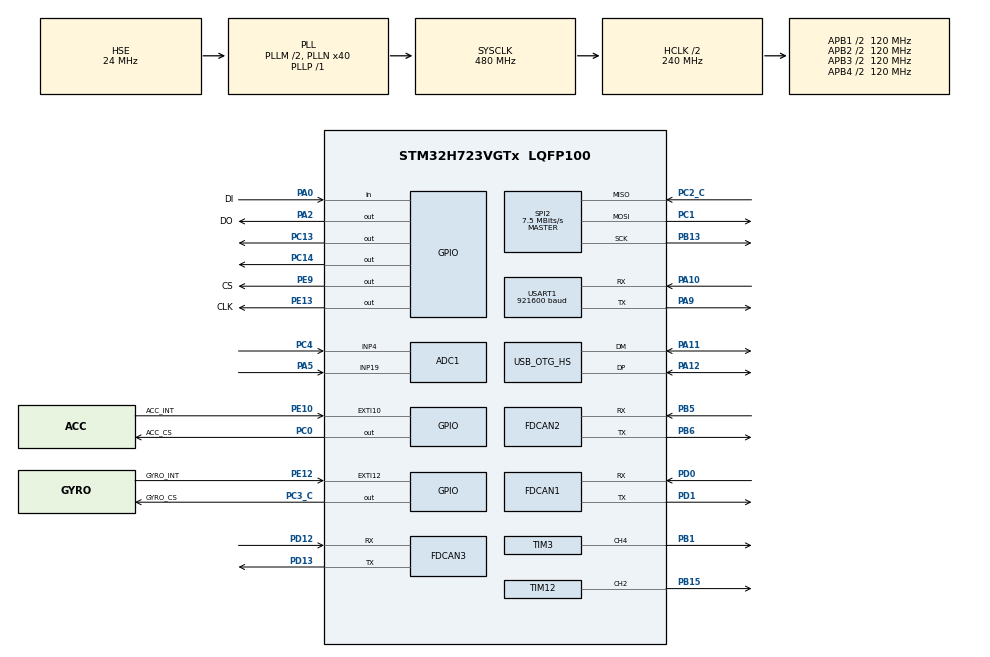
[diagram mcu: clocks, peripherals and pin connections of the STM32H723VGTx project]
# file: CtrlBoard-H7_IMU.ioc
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ADC1.Channel-0\#ChannelRegularConversion=ADC_CHANNEL_4
ADC1.Channel-1\#ChannelRegularConversion=ADC_CHANNEL_4
ADC1.ClockPrescaler=ADC_CLOCK_ASYNC_DIV64
ADC1.ContinuousConvMode=ENABLE
ADC1.ConversionDataManagement=ADC_CONVERSIONDATA_DMA_CIRCULAR
ADC1.NbrOfConversion=2
ADC1.NbrOfConversionFlag=1
ADC1.OffsetNumber-0\#ChannelRegularConversion=ADC_OFFSET_NONE
ADC1.OffsetNumber-1\#ChannelRegularConversion=ADC_OFFSET_NONE
ADC1.OffsetSignedSaturation-0\#ChannelRegularConversion=DISABLE
ADC1.OffsetSignedSaturation-1\#ChannelRegularConversion=DISABLE
ADC1.Rank-0\#ChannelRegularConversion=1
ADC1.Rank-1\#ChannelRegularConversion=2
ADC1.SamplingTime-0\#ChannelRegularConversion=ADC_SAMPLETIME_1CYCLE_5
ADC1.SamplingTime-1\#ChannelRegularConversion=ADC_SAMPLETIME_1CYCLE_5
ADC1.master=1
Dma.ADC1.4.Direction=DMA_PERIPH_TO_MEMORY
Dma.ADC1.4.EventEnable=DISABLE
Dma.ADC1.4.FIFOMode=DMA_FIFOMODE_DISABLE
Dma.ADC1.4.Instance=DMA1_Stream4
Dma.ADC1.4.MemDataAlignment=DMA_MDATAALIGN_HALFWORD
Dma.ADC1.4.MemInc=DMA_MINC_ENABLE
Dma.ADC1.4.Mode=DMA_CIRCULAR
Dma.ADC1.4.PeriphDataAlignment=DMA_PDATAALIGN_HALFWORD
Dma.ADC1.4.PeriphInc=DMA_PINC_DISABLE
Dma.ADC1.4.Polarity=HAL_DMAMUX_REQ_GEN_RISING
Dma.ADC1.4.Priority=DMA_PRIORITY_LOW
Dma.ADC1.4.RequestNumber=1
Dma.ADC1.4.SignalID=NONE
Dma.ADC1.4.SyncEnable=DISABLE
Dma.ADC1.4.SyncPolarity=HAL_DMAMUX_SYNC_NO_EVENT
Dma.ADC1.4.SyncRequestNumber=1
Dma.ADC1.4.SyncSignalID=NONE
Dma.Request0=SPI2_RX
Dma.Request1=SPI2_TX
Dma.Request2=USART1_RX
Dma.Request3=USART1_TX
Dma.Request4=ADC1
Dma.SPI2_RX.0.Direction=DMA_PERIPH_TO_MEMORY
Dma.SPI2_RX.0.EventEnable=DISABLE
Dma.SPI2_RX.0.FIFOMode=DMA_FIFOMODE_DISABLE
Dma.SPI2_RX.0.Instance=DMA1_Stream0
Dma.SPI2_RX.0.MemDataAlignment=DMA_MDATAALIGN_BYTE
Dma.SPI2_RX.0.MemInc=DMA_MINC_ENABLE
Dma.SPI2_RX.0.Mode=DMA_NORMAL
Dma.SPI2_RX.0.PeriphDataAlignment=DMA_PDATAALIGN_BYTE
Dma.SPI2_RX.0.PeriphInc=DMA_PINC_DISABLE
Dma.SPI2_RX.0.Polarity=HAL_DMAMUX_REQ_GEN_RISING
Dma.SPI2_RX.0.Priority=DMA_PRIORITY_VERY_HIGH
Dma.SPI2_RX.0.RequestNumber=1
Dma.SPI2_RX.0.SignalID=NONE
Dma.SPI2_RX.0.SyncEnable=DISABLE
Dma.SPI2_RX.0.SyncPolarity=HAL_DMAMUX_SYNC_NO_EVENT
Dma.SPI2_RX.0.SyncRequestNumber=1
Dma.SPI2_RX.0.SyncSignalID=NONE
Dma.SPI2_TX.1.Direction=DMA_MEMORY_TO_PERIPH
Dma.SPI2_TX.1.EventEnable=DISABLE
Dma.SPI2_TX.1.FIFOMode=DMA_FIFOMODE_DISABLE
Dma.SPI2_TX.1.Instance=DMA1_Stream1
Dma.SPI2_TX.1.MemDataAlignment=DMA_MDATAALIGN_BYTE
Dma.SPI2_TX.1.MemInc=DMA_MINC_ENABLE
Dma.SPI2_TX.1.Mode=DMA_NORMAL
Dma.SPI2_TX.1.PeriphDataAlignment=DMA_PDATAALIGN_BYTE
Dma.SPI2_TX.1.PeriphInc=DMA_PINC_DISABLE
Dma.SPI2_TX.1.Polarity=HAL_DMAMUX_REQ_GEN_RISING
Dma.SPI2_TX.1.Priority=DMA_PRIORITY_HIGH
Dma.SPI2_TX.1.RequestNumber=1
Dma.SPI2_TX.1.SignalID=NONE
Dma.SPI2_TX.1.SyncEnable=DISABLE
Dma.SPI2_TX.1.SyncPolarity=HAL_DMAMUX_SYNC_NO_EVENT
Dma.SPI2_TX.1.SyncRequestNumber=1
Dma.SPI2_TX.1.SyncSignalID=NONE
Dma.USART1_RX.2.Direction=DMA_PERIPH_TO_MEMORY
Dma.USART1_RX.2.EventEnable=DISABLE
Dma.USART1_RX.2.FIFOMode=DMA_FIFOMODE_DISABLE
Dma.USART1_RX.2.Instance=DMA1_Stream2
Dma.USART1_RX.2.MemDataAlignment=DMA_MDATAALIGN_BYTE
Dma.USART1_RX.2.MemInc=DMA_MINC_ENABLE
Dma.USART1_RX.2.Mode=DMA_NORMAL
Dma.USART1_RX.2.PeriphDataAlignment=DMA_PDATAALIGN_BYTE
Dma.USART1_RX.2.PeriphInc=DMA_PINC_DISABLE
Dma.USART1_RX.2.Polarity=HAL_DMAMUX_REQ_GEN_RISING
Dma.USART1_RX.2.Priority=DMA_PRIORITY_LOW
Dma.USART1_RX.2.RequestNumber=1
Dma.USART1_RX.2.SignalID=NONE
Dma.USART1_RX.2.SyncEnable=DISABLE
Dma.USART1_RX.2.SyncPolarity=HAL_DMAMUX_SYNC_NO_EVENT
Dma.USART1_RX.2.SyncRequestNumber=1
Dma.USART1_RX.2.SyncSignalID=NONE
Dma.USART1_TX.3.Direction=DMA_MEMORY_TO_PERIPH
Dma.USART1_TX.3.EventEnable=DISABLE
Dma.USART1_TX.3.FIFOMode=DMA_FIFOMODE_DISABLE
Dma.USART1_TX.3.Instance=DMA1_Stream3
Dma.USART1_TX.3.MemDataAlignment=DMA_MDATAALIGN_BYTE
Dma.USART1_TX.3.MemInc=DMA_MINC_ENABLE
Dma.USART1_TX.3.Mode=DMA_NORMAL
Dma.USART1_TX.3.PeriphDataAlignment=DMA_PDATAALIGN_BYTE
Dma.USART1_TX.3.PeriphInc=DMA_PINC_DISABLE
Dma.USART1_TX.3.Polarity=HAL_DMAMUX_REQ_GEN_RISING
Dma.USART1_TX.3.Priority=DMA_PRIORITY_LOW
Dma.USART1_TX.3.RequestNumber=1
Dma.USART1_TX.3.SignalID=NONE
Dma.USART1_TX.3.SyncEnable=DISABLE
Dma.USART1_TX.3.SyncPolarity=HAL_DMAMUX_SYNC_NO_EVENT
Dma.USART1_TX.3.SyncRequestNumber=1
Dma.USART1_TX.3.SyncSignalID=NONE
FDCAN1.AutoRetransmission=ENABLE
FDCAN1.CalculateBaudRateNominal=1000000
FDCAN1.CalculateTimeBitNominal=1000
FDCAN1.CalculateTimeQuantumNominal=12.5
FDCAN1.DataSyncJumpWidth=2
FDCAN1.DataTimeSeg1=13
FDCAN1.DataTimeSeg2=2
FDCAN1.ExtFiltersNbr=4
FDCAN1.FrameFormat=FDCAN_FRAME_FD_BRS
FDCAN1.NominalPrescaler=1
FDCAN1.NominalSyncJumpWidth=20
FDCAN1.NominalTimeSeg1=59
FDCAN1.NominalTimeSeg2=20
FDCAN1.ProtocolException=ENABLE
FDCAN1.RxFifo0ElmtsNbr=10
FDCAN1.StdFiltersNbr=4
FDCAN1.TxFifoQueueElmtsNbr=10
FDCAN2.AutoRetransmission=ENABLE
FDCAN2.CalculateBaudRateNominal=1000000
FDCAN2.CalculateTimeBitNominal=1000
FDCAN2.CalculateTimeQuantumNominal=12.5
FDCAN2.DataSyncJumpWidth=2
FDCAN2.DataTimeSeg1=13
FDCAN2.DataTimeSeg2=2
FDCAN2.ExtFiltersNbr=5
FDCAN2.FrameFormat=FDCAN_FRAME_FD_BRS
FDCAN2.MessageRAMOffset=854
FDCAN2.NominalPrescaler=1
FDCAN2.NominalSyncJumpWidth=20
FDCAN2.NominalTimeSeg1=59
FDCAN2.NominalTimeSeg2=20
FDCAN2.ProtocolException=ENABLE
FDCAN2.RxFifo1ElmtsNbr=10
FDCAN2.StdFiltersNbr=5
FDCAN2.TxFifoQueueElmtsNbr=10
FDCAN3.AutoRetransmission=ENABLE
FDCAN3.CalculateBaudRateNominal=1000000
FDCAN3.CalculateTimeBitNominal=1000
FDCAN3.CalculateTimeQuantumNominal=12.5
FDCAN3.DataPrescaler=1
FDCAN3.DataSyncJumpWidth=2
FDCAN3.DataTimeSeg1=13
FDCAN3.DataTimeSeg2=2
FDCAN3.ExtFiltersNbr=5
FDCAN3.FrameFormat=FDCAN_FRAME_FD_BRS
FDCAN3.MessageRAMOffset=1709
FDCAN3.NominalPrescaler=1
FDCAN3.NominalSyncJumpWidth=20
FDCAN3.NominalTimeSeg1=59
FDCAN3.NominalTimeSeg2=20
FDCAN3.ProtocolException=ENABLE
FDCAN3.RxFifo0ElmtsNbr=10
FDCAN3.StdFiltersNbr=5
FDCAN3.TxFifoQueueElmtsNbr=12
FREERTOS.MEMORY_ALLOCATION=0
FREERTOS.Tasks01=defaultTask,0,128,StartDefaultTask,Default,NULL,Dynamic,NULL,NULL;CHASSISR_TASK,2,512,ChassisR_Task,Default,NULL,Dynamic,NULL,NULL;CHASSISL_TASK,2,512,ChassisL_Task,Default,NULL,Dynamic,NULL,NULL;CONNECT_TASK,2,512,CONNECT_Task,Default,NULL,Dynamic,NULL,NULL;BODY_TASK,1,512,Body_Task,Default,NULL,Dynamic,NULL,NULL;VBUS_CHECK_TASK,0,128,VBUS_CheckTask,Default,NULL,Dynamic,NULL,NULL
FREERTOS.configENABLE_FPU=1
FREERTOS.configTOTAL_HEAP_SIZE=30720
Mcu.Family=STM32H7
Mcu.Name=STM32H723VGTx
Mcu.Package=LQFP100
NVIC.DMA1_Stream0_IRQn=true\:6\:0\:true\:false\:true\:true\:false\:true\:true
NVIC.DMA1_Stream1_IRQn=true\:6\:0\:true\:false\:true\:true\:false\:true\:true
NVIC.DMA1_Stream2_IRQn=true\:5\:0\:false\:false\:true\:true\:false\:true\:true
NVIC.DMA1_Stream3_IRQn=true\:5\:0\:false\:false\:true\:true\:false\:true\:true
NVIC.DMA1_Stream4_IRQn=true\:8\:0\:true\:false\:true\:true\:false\:true\:true
NVIC.FDCAN1_IT0_IRQn=true\:5\:0\:false\:false\:true\:true\:true\:true\:true
NVIC.FDCAN2_IT0_IRQn=true\:5\:0\:false\:false\:true\:true\:true\:true\:true
NVIC.FDCAN3_IT0_IRQn=true\:5\:0\:false\:false\:true\:true\:true\:true\:true
NVIC.OTG_HS_IRQn=true\:5\:0\:false\:false\:true\:true\:false\:true\:true
NVIC.PriorityGroup=NVIC_PRIORITYGROUP_4
NVIC.SPI2_IRQn=true\:5\:0\:true\:false\:true\:true\:false\:true\:true
NVIC.TIM2_IRQn=true\:15\:0\:false\:false\:true\:false\:false\:true\:true
NVIC.TimeBase=TIM2_IRQn
NVIC.TimeBaseIP=TIM2
NVIC.USART1_IRQn=true\:7\:0\:true\:false\:true\:true\:true\:true\:true
PA0.GPIO_Label=DI
PA0.GPIO_PuPd=GPIO_PULLUP
PA0.Signal=GPIO_Input
PA10.Mode=Asynchronous
PA10.Signal=USART1_RX
PA11.Mode=Device_Only_FS
PA11.Signal=USB_OTG_HS_DM
PA12.Mode=Device_Only_FS
PA12.Signal=USB_OTG_HS_DP
PA13(JTMS/SWDIO).Mode=Serial_Wire
PA13(JTMS/SWDIO).Signal=DEBUG_JTMS-SWDIO
PA14(JTCK/SWCLK).Mode=Serial_Wire
PA14(JTCK/SWCLK).Signal=DEBUG_JTCK-SWCLK
PA2.GPIO_Label=DO
PA2.GPIO_PuPd=GPIO_PULLUP
PA2.GPIO_Speed=GPIO_SPEED_FREQ_VERY_HIGH
PA2.PinState=GPIO_PIN_SET
PA2.Signal=GPIO_Output
PA5.Signal=ADCx_INP19
PA9.Mode=Asynchronous
PA9.Signal=USART1_TX
PB1.Signal=S_TIM3_CH4
PB13.GPIO_Speed=GPIO_SPEED_FREQ_VERY_HIGH
PB13.Mode=Full_Duplex_Master
PB13.Signal=SPI2_SCK
PB15.Signal=S_TIM12_CH2
PB5.Mode=FDCAN_Activate
PB5.Signal=FDCAN2_RX
PB6.Mode=FDCAN_Activate
PB6.Signal=FDCAN2_TX
PC0.GPIO_Label=ACC_CS
PC0.GPIO_Speed=GPIO_SPEED_FREQ_VERY_HIGH
PC0.PinState=GPIO_PIN_SET
PC0.Signal=GPIO_Output
PC1.GPIO_Speed=GPIO_SPEED_FREQ_VERY_HIGH
PC1.Mode=Full_Duplex_Master
PC1.Signal=SPI2_MOSI
PC13.Signal=GPIO_Output
PC14-OSC32_IN.Signal=GPIO_Output
PC2_C.GPIO_Speed=GPIO_SPEED_FREQ_VERY_HIGH
PC2_C.Mode=Full_Duplex_Master
PC2_C.Signal=SPI2_MISO
PC3_C.GPIO_Label=GYRO_CS
PC3_C.GPIO_Speed=GPIO_SPEED_FREQ_VERY_HIGH
PC3_C.PinState=GPIO_PIN_SET
PC3_C.Signal=GPIO_Output
PC4.Signal=ADCx_INP4
PD0.Mode=FDCAN_Activate
PD0.Signal=FDCAN1_RX
PD1.Mode=FDCAN_Activate
PD1.Signal=FDCAN1_TX
PD12.Mode=FDCAN_Activate
PD12.Signal=FDCAN3_RX
PD13.Mode=FDCAN_Activate
PD13.Signal=FDCAN3_TX
PE10.GPIO_Label=ACC_INT
PE10.Signal=GPXTI10
PE12.GPIO_Label=GYRO_INT
PE12.Signal=GPXTI12
PE13.GPIO_Label=CLK
PE13.GPIO_PuPd=GPIO_PULLUP
PE13.GPIO_Speed=GPIO_SPEED_FREQ_VERY_HIGH
PE13.PinState=GPIO_PIN_SET
PE13.Signal=GPIO_Output
PE9.GPIO_Label=CS
PE9.GPIO_PuPd=GPIO_PULLUP
PE9.GPIO_Speed=GPIO_SPEED_FREQ_VERY_HIGH
PE9.PinState=GPIO_PIN_SET
PE9.Signal=GPIO_Output
PH0-OSC_IN.Mode=HSE-External-Oscillator
PH0-OSC_IN.Signal=RCC_OSC_IN
PH1-OSC_OUT.Mode=HSE-External-Oscillator
PH1-OSC_OUT.Signal=RCC_OSC_OUT
ProjectManager.HeapSize=0x200
ProjectManager.StackSize=0x800
ProjectManager.TargetToolchain=MDK-ARM V5.27
RCC.ADCCLockSelection=RCC_ADCCLKSOURCE_PLL3
RCC.ADCFreq_Value=100000000
RCC.APB1Freq_Value=120000000
RCC.APB2Freq_Value=120000000
RCC.APB3Freq_Value=120000000
RCC.APB4Freq_Value=120000000
RCC.CortexFreq_Value=480000000
RCC.D1PPRE=RCC_APB3_DIV2
RCC.D2PPRE1=RCC_APB1_DIV2
RCC.D2PPRE2=RCC_APB2_DIV2
RCC.D3PPRE=RCC_APB4_DIV2
RCC.DIVM1=2
RCC.DIVM2=2
RCC.DIVM3=2
RCC.DIVN1=40
RCC.DIVN2=40
RCC.DIVN3=25
RCC.DIVP1=1
RCC.DIVQ2=6
RCC.DIVQ3=1
RCC.DIVR3=3
RCC.FDCANCLockSelection=RCC_FDCANCLKSOURCE_PLL2
RCC.HCLKFreq_Value=240000000
RCC.HPRE=RCC_HCLK_DIV2
RCC.HSE_VALUE=24000000
RCC.PLL2FRACN=0
RCC.PLL3FRACN=0
RCC.PLLFRACN=0
RCC.PLLSourceVirtual=RCC_PLLSOURCE_HSE
RCC.SYSCLKFreq_VALUE=480000000
RCC.SYSCLKSource=RCC_SYSCLKSOURCE_PLLCLK
RCC.USBCLockSelection=RCC_USBCLKSOURCE_HSI48
RCC.USBFreq_Value=48000000
SH.ADCx_INP19.0=ADC1_INP19,IN19-Single-Ended
SH.ADCx_INP4.0=ADC1_INP4,IN4-Single-Ended
SH.S_TIM12_CH2.0=TIM12_CH2,PWM Generation2 CH2
SH.S_TIM3_CH4.0=TIM3_CH4,PWM Generation4 CH4
SPI2.BaudRatePrescaler=SPI_BAUDRATEPRESCALER_32
SPI2.CLKPhase=SPI_PHASE_2EDGE
SPI2.CLKPolarity=SPI_POLARITY_HIGH
SPI2.CalculateBaudRate=7.5 MBits/s
SPI2.DataSize=SPI_DATASIZE_8BIT
SPI2.Direction=SPI_DIRECTION_2LINES
SPI2.Mode=SPI_MODE_MASTER
SPI2.VirtualType=VM_MASTER
TIM12.Channel-PWM\ Generation2\ CH2=TIM_CHANNEL_2
TIM12.Period=2000-1
TIM12.Prescaler=24-1
TIM12.Pulse-PWM\ Generation2\ CH2=1000
TIM3.AutoReloadPreload=TIM_AUTORELOAD_PRELOAD_ENABLE
TIM3.Channel-PWM\ Generation4\ CH4=TIM_CHANNEL_4
TIM3.Period=10000-1
TIM3.Prescaler=24-1
USART1.BaudRate=921600
USART1.VirtualMode-Asynchronous=VM_ASYNC
USB_DEVICE.CLASS_NAME_HS=CDC
USB_DEVICE.VirtualMode=Cdc
USB_DEVICE.VirtualModeHS=Cdc_HS
USB_OTG_HS.VirtualMode-Device_Only_FS=Device_Only_FS
VP_FREERTOS_VS_CMSIS_V1.Mode=CMSIS_V1
VP_MEMORYMAP_VS_MEMORYMAP.Mode=CurAppReg
VP_SYS_VS_tim2.Mode=TIM2
VP_USB_DEVICE_VS_USB_DEVICE_CDC_HS.Mode=CDC_HS
board=custom

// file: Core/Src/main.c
/* USER CODE BEGIN Header */
/**
  ******************************************************************************
  * @file           : main.c
  * @brief          : Main program body
  ******************************************************************************
  * @attention
  *
  * Copyright (c) 2024 STMicroelectronics.
  * All rights reserved.
  *
  * This software is licensed under terms that can be found in the LICENSE file
  * in the root directory of this software component.
  * If no LICENSE file comes with this software, it is provided AS-IS.
  *
  ******************************************************************************
  */
/* USER CODE END Header */
#include "main.h"
#include "cmsis_os.h"
#include "adc.h"
#include "dma.h"
#include "fdcan.h"
#include "memorymap.h"
#include "spi.h"
#include "tim.h"
#include "usart.h"
#include "usb_device.h"
#include "gpio.h"

/* USER CODE BEGIN Includes */
#include "BMI088driver.h"
#include "kalman_filter.h"
#include "mahony_filter.h"
#include "bsp_dwt.h"
#include "BMI088Middleware.h"
#include "bsp_usart1.h"
#include "bsp_fdcan.h"
#include "dm_motor_ctrl.h"

/* USER CODE END Includes */

void SystemClock_Config(void);
void PeriphCommonClock_Config(void);
void MX_FREERTOS_Init(void);

int main(void)
{

  /* MCU Configuration--------------------------------------------------------*/

  /* Reset of all peripherals, Initializes the Flash interface and the Systick. */
  HAL_Init();

  /* MCU 基础配置 ----------------------------------------------------------*/
  HAL_Init();                              // 初始化HAL库
  SystemClock_Config();                    // 配置系统时钟（480MHz）
  PeriphCommonClock_Config();              // 配置外设共用时钟

  /* 外设初始化 ------------------------------------------------------------*/
  MX_GPIO_Init();                          // 初始化GPIO
  MX_DMA_Init();                           // 初始化DMA控制器
  MX_SPI2_Init();                          // 初始化SPI2（用于IMU通信）
  MX_TIM3_Init();                          // 初始化TIM3（基础定时器）
  MX_USART1_UART_Init();                   // 初始化USART1（调试串口）
  MX_FDCAN1_Init();                        // 初始化FDCAN1控制器
  MX_FDCAN2_Init();                        // 初始化FDCAN2控制器
  MX_FDCAN3_Init();                        // 初始化FDCAN3控制器
  MX_ADC1_Init();                          // 初始化ADC1控制器
  MX_TIM12_Init();                         // 初始化TIM12（PWM定时器）

  /* 用户自定义初始化 -------------------------------------------------------*/
  /* USER CODE BEGIN 2 */
	Buzzer_OFF;                            // 关闭蜂鸣器
	DWT_Init(480);                         // 初始化数据观察点定时器（基于480MHz主频）
  HAL_TIM_Base_Start_IT(&htim3);         // 启动TIM3定时器中断

	Power_OUT1_ON;  // IMU电源使能（开启IMU供电，LED状态指示）
	Power_OUT2_ON;  // 电机驱动电源使能

  //FDCAN1_Config();  // FDCAN1总线配置（电机控制通信）
	//FDCAN2_Config();  // FDCAN2总线配置（电机控制通信）

	bsp_fdcan_set_baud(&hfdcan1, CAN_CLASS, CAN_BR_1M);
  bsp_fdcan_set_baud(&hfdcan2, CAN_CLASS, CAN_BR_1M);

	bsp_can_init();
  dm_motor_init();
  /* USER CODE END 2 */

  /* Call init function for freertos objects (in cmsis_os2.c) */
  MX_FREERTOS_Init();

  /* Start scheduler */
  osKernelStart();

  /* We should never get here as control is now taken by the scheduler */

  /* Infinite loop */
  /* USER CODE BEGIN WHILE */
  while (1)
  {

  }
  /* USER CODE END 3 */
}

void SystemClock_Config(void)
{
  RCC_OscInitTypeDef RCC_OscInitStruct = {0};
  RCC_ClkInitTypeDef RCC_ClkInitStruct = {0};

  /** Supply configuration update enable
  */
  HAL_PWREx_ConfigSupply(PWR_LDO_SUPPLY);

  /** Configure the main internal regulator output voltage
  */
  __HAL_PWR_VOLTAGESCALING_CONFIG(PWR_REGULATOR_VOLTAGE_SCALE0);

  while(!__HAL_PWR_GET_FLAG(PWR_FLAG_VOSRDY)) {}

  /** Initializes the RCC Oscillators according to the specified parameters
  * in the RCC_OscInitTypeDef structure.
  */
  RCC_OscInitStruct.OscillatorType = RCC_OSCILLATORTYPE_HSI48|RCC_OSCILLATORTYPE_HSE;
  RCC_OscInitStruct.HSEState = RCC_HSE_ON;
  RCC_OscInitStruct.HSI48State = RCC_HSI48_ON;
  RCC_OscInitStruct.PLL.PLLState = RCC_PLL_ON;
  RCC_OscInitStruct.PLL.PLLSource = RCC_PLLSOURCE_HSE;
  RCC_OscInitStruct.PLL.PLLM = 2;
  RCC_OscInitStruct.PLL.PLLN = 40;
  RCC_OscInitStruct.PLL.PLLP = 1;
  RCC_OscInitStruct.PLL.PLLQ = 2;
  RCC_OscInitStruct.PLL.PLLR = 2;
  RCC_OscInitStruct.PLL.PLLRGE = RCC_PLL1VCIRANGE_3;
  RCC_OscInitStruct.PLL.PLLVCOSEL = RCC_PLL1VCOWIDE;
  RCC_OscInitStruct.PLL.PLLFRACN = 0;
  if (HAL_RCC_OscConfig(&RCC_OscInitStruct) != HAL_OK)
  {
    Error_Handler();
  }

  /** Initializes the CPU, AHB and APB buses clocks
  */
  RCC_ClkInitStruct.ClockType = RCC_CLOCKTYPE_HCLK|RCC_CLOCKTYPE_SYSCLK
                              |RCC_CLOCKTYPE_PCLK1|RCC_CLOCKTYPE_PCLK2
                              |RCC_CLOCKTYPE_D3PCLK1|RCC_CLOCKTYPE_D1PCLK1;
  RCC_ClkInitStruct.SYSCLKSource = RCC_SYSCLKSOURCE_PLLCLK;
  RCC_ClkInitStruct.SYSCLKDivider = RCC_SYSCLK_DIV1;
  RCC_ClkInitStruct.AHBCLKDivider = RCC_HCLK_DIV2;
  RCC_ClkInitStruct.APB3CLKDivider = RCC_APB3_DIV2;
  RCC_ClkInitStruct.APB1CLKDivider = RCC_APB1_DIV2;
  RCC_ClkInitStruct.APB2CLKDivider = RCC_APB2_DIV2;
  RCC_ClkInitStruct.APB4CLKDivider = RCC_APB4_DIV2;

  if (HAL_RCC_ClockConfig(&RCC_ClkInitStruct, FLASH_LATENCY_3) != HAL_OK)
  {
    Error_Handler();
  }
}

void PeriphCommonClock_Config(void)
{
  RCC_PeriphCLKInitTypeDef PeriphClkInitStruct = {0};

  /** Initializes the peripherals clock
  */
  PeriphClkInitStruct.PeriphClockSelection = RCC_PERIPHCLK_FDCAN;
  PeriphClkInitStruct.PLL2.PLL2M = 2;
  PeriphClkInitStruct.PLL2.PLL2N = 40;
  PeriphClkInitStruct.PLL2.PLL2P = 2;
  PeriphClkInitStruct.PLL2.PLL2Q = 6;
  PeriphClkInitStruct.PLL2.PLL2R = 2;
  PeriphClkInitStruct.PLL2.PLL2RGE = RCC_PLL2VCIRANGE_3;
  PeriphClkInitStruct.PLL2.PLL2VCOSEL = RCC_PLL2VCOWIDE;
  PeriphClkInitStruct.PLL2.PLL2FRACN = 0;
  PeriphClkInitStruct.FdcanClockSelection = RCC_FDCANCLKSOURCE_PLL2;
  if (HAL_RCCEx_PeriphCLKConfig(&PeriphClkInitStruct) != HAL_OK)
  {
    Error_Handler();
  }
}

void HAL_TIM_PeriodElapsedCallback(TIM_HandleTypeDef *htim)
{
  if (htim->Instance == TIM2) {
    HAL_IncTick();
  }
}

void Error_Handler(void)
{
  __disable_irq();
  while (1)
  {
  }
}

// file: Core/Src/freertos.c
/* USER CODE BEGIN Header */
/**
  ******************************************************************************
  * File Name          : freertos.c
  * Description        : Code for freertos applications
  ******************************************************************************
  * @attention
  *
  * Copyright (c) 2024 STMicroelectronics.
  * All rights reserved.
  *
  * This software is licensed under terms that can be found in the LICENSE file
  * in the root directory of this software component.
  * If no LICENSE file comes with this software, it is provided AS-IS.
  *
  ******************************************************************************
  */
/* USER CODE END Header */

#include "FreeRTOS.h"
#include "task.h"
#include "main.h"
#include "cmsis_os.h"

/* USER CODE BEGIN Includes */
#include "chassisR_task.h"
#include "chassisRB_task.h"
#include "chassisL_task.h"
#include "chassisLB_task.h"
#include "connect_task.h"

/* USER CODE END Includes */

osThreadId defaultTaskHandle;
osThreadId CHASSISR_TASKHandle;
osThreadId CHASSISRB_TASKHandle;
osThreadId CHASSISL_TASKHandle;
osThreadId CHASSISLB_TASKHandle;
osThreadId CONNECT_TASKHandle;

void StartDefaultTask(void const * argument);
void ChassisR_Task(void const * argument);
void ChassisRB_Task(void const * argument);
void ChassisL_Task(void const * argument);
void ChassisLB_Task(void const * argument);void CONNECT_Task(void const * argument);
extern void MX_USB_DEVICE_Init(void);
void MX_FREERTOS_Init(void); /* (MISRA C 2004 rule 8.1) */

void MX_FREERTOS_Init(void) {

  /* 创建任务线程 -----------------------------------------------------------*/
  // 默认任务（USB设备初始化）
  osThreadDef(defaultTask, StartDefaultTask, osPriorityNormal, 0, 128);  // 优先级普通，128字堆栈
  defaultTaskHandle = osThreadCreate(osThread(defaultTask), NULL);

  // 右底盘控制任务（高优先级，512字堆栈）
  osThreadDef(CHASSISR_TASK, ChassisR_Task, osPriorityHigh, 0, 512);
  CHASSISR_TASKHandle = osThreadCreate(osThread(CHASSISR_TASK), NULL);

  // 右底盘后驱控制任务（高优先级，512字堆栈）
  osThreadDef(CHASSISRB_TASK, ChassisRB_Task, osPriorityHigh, 0, 512);
  CHASSISRB_TASKHandle = osThreadCreate(osThread(CHASSISRB_TASK), NULL);

  // 左底盘控制任务（高优先级，512字堆栈）
  osThreadDef(CHASSISL_TASK, ChassisL_Task, osPriorityHigh, 0, 512);
  CHASSISL_TASKHandle = osThreadCreate(osThread(CHASSISL_TASK), NULL);

  // 左底盘后驱控制任务（高优先级，512字堆栈）
  osThreadDef(CHASSISLB_TASK, ChassisLB_Task, osPriorityHigh, 0, 512);
  CHASSISLB_TASKHandle = osThreadCreate(osThread(CHASSISLB_TASK), NULL);

  /* definition and creation of CONNECT_TASK */
  osThreadDef(CONNECT_TASK, CONNECT_Task, osPriorityHigh, 0, 512);
  CONNECT_TASKHandle = osThreadCreate(osThread(CONNECT_TASK), NULL);

}

void StartDefaultTask(void const * argument)
{
  /* init code for USB_DEVICE */
  MX_USB_DEVICE_Init();
  for(;;)
  {
    osDelay(1);
  }
}

void ChassisR_Task(void const * argument)
{
  /* USER CODE BEGIN ChassisR_Task */
  /* Infinite loop */
  for(;;)
  {
    ChassisR_task();
  }
  /* USER CODE END ChassisR_Task */
}

void ChassisRB_Task(void const * argument)
{
  /* USER CODE BEGIN ChassisRB_Task */
  /* Infinite loop */
  for(;;)
  {
    ChassisRB_task();
  }
  /* USER CODE END ChassisRB_Task */
}

void ChassisL_Task(void const * argument)
{
  /* USER CODE BEGIN ChassisL_Task */
  /* Infinite loop */
  for(;;)
  {
    ChassisL_task();
  }
  /* USER CODE END ChassisL_Task */
}

void ChassisLB_Task(void const * argument)
{
  /* USER CODE BEGIN ChassisLB_Task */
  /* Infinite loop */
  for(;;)
  {
    ChassisLB_task();
  }
  /* USER CODE END ChassisLB_Task */
}
void CONNECT_Task(void const * argument)
{
  /* USER CODE BEGIN CONNECT_Task */
  /* Infinite loop */
  for(;;)
  {
    Connect_task();
  }
  /* USER CODE END CONNECT_Task */
}
